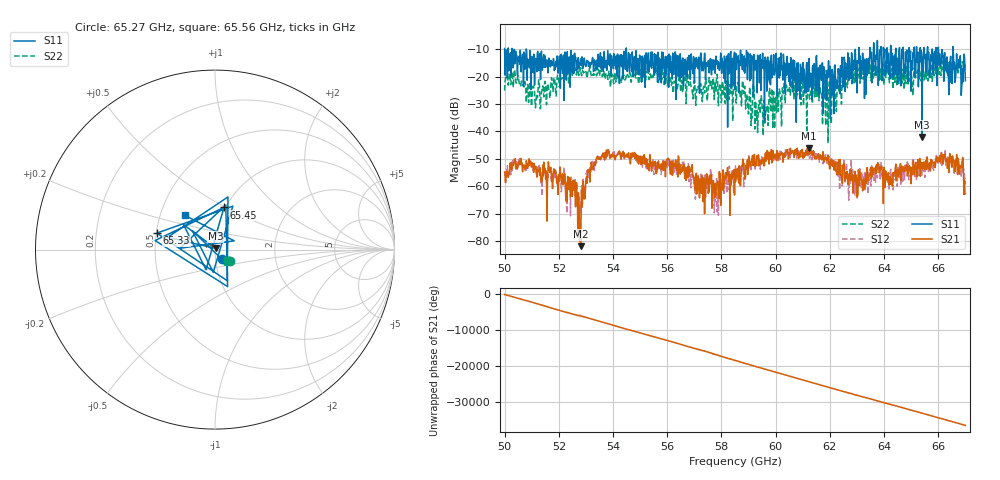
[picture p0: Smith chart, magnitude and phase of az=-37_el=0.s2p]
!Created with skrf (http://scikit-rf.org).
# GHz S RI R 50.0
!freq ReS11 ImS11 ReS21 ImS21 ReS12 ImS12 ReS22 ImS22
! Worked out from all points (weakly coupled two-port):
!   1001 points, 50 GHz to 67 GHz, reference 50 ohm
!   highest |S21| = -46.07 dB at 61.24 GHz (marker M1); lowest = -81.9 dB at 52.8 GHz (marker M2)
!   lowest |S11| = -42.0 dB at 65.4 GHz (marker M3), VSWR 1.02, Z = 50.4 + j0.71 ohm
!   |S11| at or under -10 dB: 50.8 GHz to 54.49 GHz (3.686 GHz wide, 7 % of centre); 54.49 GHz to 63.07 GHz (8.581 GHz wide, 14.6 % of centre); 66.01 GHz to 66.54 GHz (533.2 MHz wide, 0.805 % of centre) (the widest 3 of 27)
!   |S22| runs from -44.3 to -14.2 dB; largest |S21 - S12| = 0.0021
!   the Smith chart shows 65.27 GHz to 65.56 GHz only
!   S11 on the Smith chart (normalised r, x): 65.27 GHz: 1.07, -0.11; 65.33 GHz: 0.50, +0.10; 65.45 GHz: 0.98, +0.49; 65.56 GHz: 0.67, +0.27
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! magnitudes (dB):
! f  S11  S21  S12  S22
! 50 GHz  -9.7  -54.8  -54.7  -25.1
! 52.12 GHz  -16.8  -58.5  -58.8  -20.4
! 52.8 GHz  -13.6  -81.9  -66.0  -16.8
! 52.84 GHz  -13.4  -61.4  -60.0  -19.6
! 53.15 GHz  -16.5  -58.5  -57.1  -16.6
! 53.77 GHz  -17.7  -47.4  -48.0  -19.5
! 55.68 GHz  -13.6  -50.8  -53.2  -22.1
! 57.82 GHz  -15.4  -59.5  -57.2  -20.2
! 58.5 GHz  -24.9  -53.8  -58.5  -23.8
! 59.32 GHz  -26.0  -48.8  -50.9  -32.3
! 61.24 GHz  -13.4  -46.1  -48.9  -27.0
! 61.34 GHz  -28.4  -48.5  -50.4  -26.8
! 62 GHz  -16.3  -53.7  -51.6  -24.6
! 62.95 GHz  -14.4  -55.8  -57.3  -18.1
! 64.18 GHz  -19.2  -59.3  -61.0  -18.8
! 65.27 GHz  -23.7  -52.8  -56.3  -19.3
! 65.33 GHz  -9.4  -56.4  -51.8  -18.8
! 65.4 GHz  -42.0  -52.9  -53.3  -20.3
! 65.45 GHz  -12.4  -51.3  -54.4  -18.2
! 65.56 GHz  -11.9  -52.9  -52.3  -20.9
! 66.83 GHz  -17.4  -53.2  -54.5  -18.2
! 67 GHz  -21.5  -62.8  -57.0  -15.6
